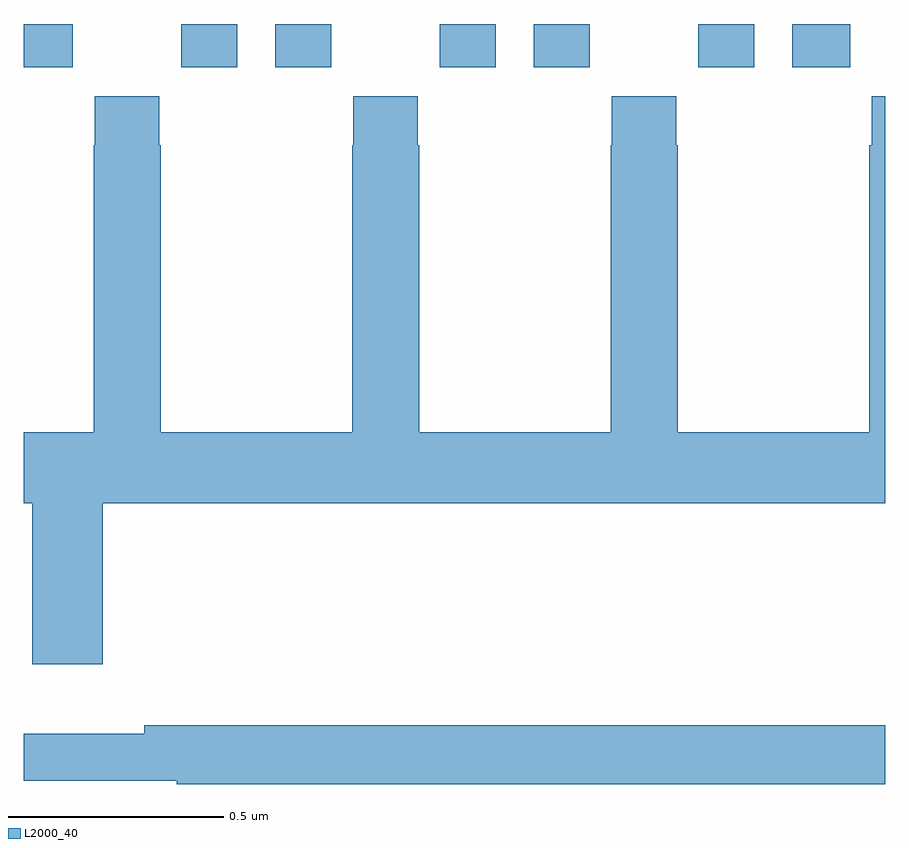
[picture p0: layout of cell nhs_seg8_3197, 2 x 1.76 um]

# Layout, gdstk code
import gdstk
lib = gdstk.Library(unit=1e-6, precision=1e-09)
def R(c, l, rs):  # rectangles x0, y0, x1, y1
    for r in rs: c.add(gdstk.rectangle(r[:2], r[2:], *l))
def P(c, l, *ps):  # polygons
    for p in ps: c.add(gdstk.Polygon(p, *l))
L2000_40 = (2000, 40)

nhs_seg8_3197 = lib.new_cell('nhs_seg8_3197')
R(nhs_seg8_3197, L2000_40, [(153,1162.8,153.114,1162.9), (153.366,1162.8,153.496,1162.9), (153.584,1162.8,153.714,1162.9), (153.966,1162.8,154.096,1162.9), (154.184,1162.8,154.314,1162.9), (154.566,1162.8,154.696,1162.9), (154.784,1162.8,154.918,1162.9)])
P(nhs_seg8_3197, L2000_40, [(153.184,1161.788),(155,1161.788),(155,1162.732),(154.969,1162.732),(154.969,1162.619),(154.963,1162.619),(154.963,1161.952),(154.518,1161.952),(154.518,1162.619),(154.515,1162.619),(154.515,1162.732),(154.365,1162.732),(154.365,1162.619),(154.363,1162.619),(154.363,1161.952),(153.918,1161.952),(153.918,1162.619),(153.915,1162.619),(153.915,1162.732),(153.765,1162.732),(153.765,1162.619),(153.763,1162.619),(153.763,1161.952),(153.318,1161.952),(153.318,1162.619),(153.315,1162.619),(153.315,1162.732),(153.165,1162.732),(153.165,1162.619),(153.163,1162.619),(153.163,1161.952),(153,1161.952),(153,1161.788),(153.02,1161.788),(153.02,1161.414),(153.184,1161.414)],
  [(155,1161.272),(153.28,1161.272),(153.28,1161.253),(153,1161.253),(153,1161.144),(153.355,1161.144),(153.355,1161.136),(155,1161.136)])

lib.write_gds('nhs_seg8_3197.gds')
